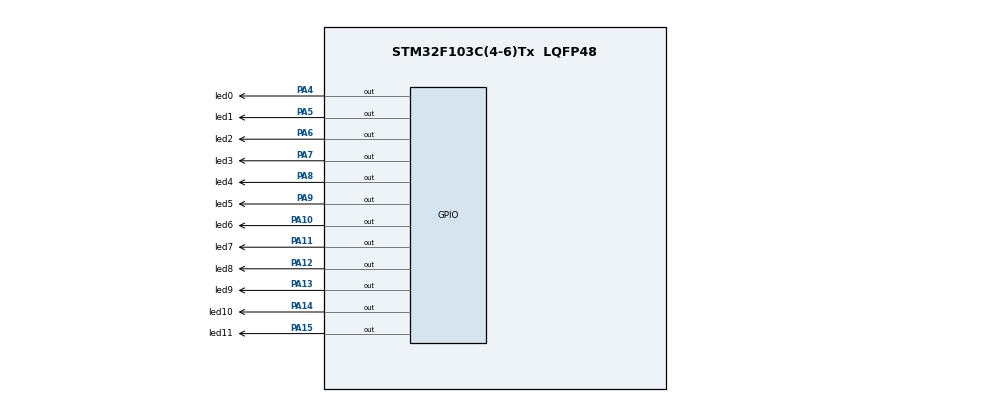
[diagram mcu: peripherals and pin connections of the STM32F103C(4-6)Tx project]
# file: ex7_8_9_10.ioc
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Mcu.Family=STM32F1
Mcu.Name=STM32F103C(4-6)Tx
Mcu.Package=LQFP48
NVIC.PriorityGroup=NVIC_PRIORITYGROUP_4
PA10.GPIO_Label=led6
PA10.Signal=GPIO_Output
PA11.GPIO_Label=led7
PA11.Signal=GPIO_Output
PA12.GPIO_Label=led8
PA12.Signal=GPIO_Output
PA13.GPIO_Label=led9
PA13.Signal=GPIO_Output
PA14.GPIO_Label=led10
PA14.Signal=GPIO_Output
PA15.GPIO_Label=led11
PA15.Signal=GPIO_Output
PA4.GPIO_Label=led0
PA4.Signal=GPIO_Output
PA5.GPIO_Label=led1
PA5.Signal=GPIO_Output
PA6.GPIO_Label=led2
PA6.Signal=GPIO_Output
PA7.GPIO_Label=led3
PA7.Signal=GPIO_Output
PA8.GPIO_Label=led4
PA8.Signal=GPIO_Output
PA9.GPIO_Label=led5
PA9.Signal=GPIO_Output
ProjectManager.HeapSize=0x200
ProjectManager.StackSize=0x400
ProjectManager.TargetToolchain=STM32CubeIDE
RCC.APB1Freq_Value=8000000
RCC.APB2Freq_Value=8000000
VP_SYS_VS_ND.Mode=No_Debug
board=custom

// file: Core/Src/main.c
/* USER CODE BEGIN Header */
/**
  ******************************************************************************
  * @file           : main.c
  * @brief          : Main program body
  ******************************************************************************
  * @attention
  *
  * <h2><center>&copy; Copyright (c) 2022 STMicroelectronics.
  * All rights reserved.</center></h2>
  *
  * This software component is licensed by ST under BSD 3-Clause license,
  * the "License"; You may not use this file except in compliance with the
  * License. You may obtain a copy of the License at:
  *                        opensource.org/licenses/BSD-3-Clause
  *
  ******************************************************************************
  */
/* USER CODE END Header */
#include "main.h"

void SystemClock_Config(void);
static void MX_GPIO_Init(void);

/* USER CODE BEGIN 0 */
void clearAllClock();
void setNumberOnClock(int num);
void clearNumberOnClock(int num);

void clearAllClock()
{
	HAL_GPIO_WritePin(GPIOA, led0_Pin, GPIO_PIN_RESET);
	HAL_GPIO_WritePin(GPIOA, led1_Pin, GPIO_PIN_RESET);
	HAL_GPIO_WritePin(GPIOA, led2_Pin, GPIO_PIN_RESET);
	HAL_GPIO_WritePin(GPIOA, led3_Pin, GPIO_PIN_RESET);
	HAL_GPIO_WritePin(GPIOA, led4_Pin, GPIO_PIN_RESET);
	HAL_GPIO_WritePin(GPIOA, led5_Pin, GPIO_PIN_RESET);
	HAL_GPIO_WritePin(GPIOA, led6_Pin, GPIO_PIN_RESET);
	HAL_GPIO_WritePin(GPIOA, led7_Pin, GPIO_PIN_RESET);
	HAL_GPIO_WritePin(GPIOA, led8_Pin, GPIO_PIN_RESET);
	HAL_GPIO_WritePin(GPIOA, led9_Pin, GPIO_PIN_RESET);
	HAL_GPIO_WritePin(GPIOA, led10_Pin, GPIO_PIN_RESET);
	HAL_GPIO_WritePin(GPIOA, led11_Pin, GPIO_PIN_RESET);
}

void setNumberOnClock(int num)
{
	if(num == 0) HAL_GPIO_WritePin(led0_GPIO_Port, led0_Pin, GPIO_PIN_SET);
	if(num == 1) HAL_GPIO_WritePin(led1_GPIO_Port, led1_Pin, GPIO_PIN_SET);
	if(num == 2) HAL_GPIO_WritePin(led2_GPIO_Port, led2_Pin, GPIO_PIN_SET);
	if(num == 3) HAL_GPIO_WritePin(led3_GPIO_Port, led3_Pin, GPIO_PIN_SET);
	if(num == 4) HAL_GPIO_WritePin(led4_GPIO_Port, led4_Pin, GPIO_PIN_SET);
	if(num == 5) HAL_GPIO_WritePin(led5_GPIO_Port, led5_Pin, GPIO_PIN_SET);
	if(num == 6) HAL_GPIO_WritePin(led6_GPIO_Port, led6_Pin, GPIO_PIN_SET);
	if(num == 7) HAL_GPIO_WritePin(led7_GPIO_Port, led7_Pin, GPIO_PIN_SET);
	if(num == 8) HAL_GPIO_WritePin(led8_GPIO_Port, led8_Pin, GPIO_PIN_SET);
	if(num == 9) HAL_GPIO_WritePin(led9_GPIO_Port, led9_Pin, GPIO_PIN_SET);
	if(num == 10) HAL_GPIO_WritePin(led10_GPIO_Port, led10_Pin, GPIO_PIN_SET);
	if(num == 11) HAL_GPIO_WritePin(led11_GPIO_Port, led11_Pin, GPIO_PIN_SET);
}

void clearNumberOnClock(int num)
{
	if(num == 0) HAL_GPIO_WritePin(led0_GPIO_Port, led0_Pin, GPIO_PIN_RESET);
	if(num == 1) HAL_GPIO_WritePin(led1_GPIO_Port, led1_Pin, GPIO_PIN_RESET);
	if(num == 2) HAL_GPIO_WritePin(led2_GPIO_Port, led2_Pin, GPIO_PIN_RESET);
	if(num == 3) HAL_GPIO_WritePin(led3_GPIO_Port, led3_Pin, GPIO_PIN_RESET);
	if(num == 4) HAL_GPIO_WritePin(led4_GPIO_Port, led4_Pin, GPIO_PIN_RESET);
	if(num == 5) HAL_GPIO_WritePin(led5_GPIO_Port, led5_Pin, GPIO_PIN_RESET);
	if(num == 6) HAL_GPIO_WritePin(led6_GPIO_Port, led6_Pin, GPIO_PIN_RESET);
	if(num == 7) HAL_GPIO_WritePin(led7_GPIO_Port, led7_Pin, GPIO_PIN_RESET);
	if(num == 8) HAL_GPIO_WritePin(led8_GPIO_Port, led8_Pin, GPIO_PIN_RESET);
	if(num == 9) HAL_GPIO_WritePin(led9_GPIO_Port, led9_Pin, GPIO_PIN_RESET);
	if(num == 10) HAL_GPIO_WritePin(led10_GPIO_Port, led10_Pin, GPIO_PIN_RESET);
	if(num == 11) HAL_GPIO_WritePin(led11_GPIO_Port, led11_Pin, GPIO_PIN_RESET);
}
/* USER CODE END 0 */

int main(void)
{

  /* MCU Configuration--------------------------------------------------------*/

  /* Reset of all peripherals, Initializes the Flash interface and the Systick. */
  HAL_Init();

  /* Configure the system clock */
  SystemClock_Config();

  /* Initialize all configured peripherals */
  MX_GPIO_Init();

  /* Infinite loop */
  /* USER CODE BEGIN WHILE */

  // initial hour, minute, second
  int count_second = 0;
  int count_minute = 0;
  int count_hour = 0;

  while (1)
  {
    /* USER CODE END WHILE */

    /* USER CODE BEGIN 3 */

	  //---------- hien thuc kim giay-----------
	  if(count_second == 60)// kim giay chay du 5 vong
	  {
		  // kiem tra dieu kien kim gio, phut, giay trung nhau
		  if((count_second/5 - 1) != (count_minute/5) && (count_second/5 - 1) != count_hour)
		  {
			  //xoa kim giay, tao hieu ung chuyen dong
			  clearNumberOnClock(count_second/5 - 1);
		  }
		  count_minute ++;// cap nhat minute
		  count_second = 0;// reset second ve 0
	  }

	  // kiem tra dieu kien kim gio, phut, giay trung nhau
	  if((count_second/5 - 1) != (count_minute/5) && (count_second/5 - 1) != count_hour)
	  {
		  clearNumberOnClock(count_second/5 - 1);
	  }
	  // hien thi kim giay
	  setNumberOnClock(count_second/5);
	  count_second ++;

	  //--------- hien thuc kim phut----------
	  if(count_minute == 60)//kim phut chay du 1 vong
	  {
		  // kiem tra dieu kien kim gio, phut, giay trung nhau
		  if((count_minute/5 -1) != (count_second/5) && (count_minute/5 -1) != count_hour)
		  {
			  //xoa kim phut, tao hieu ung chuyen dong
			  clearNumberOnClock(count_minute/5 -1);
		  }
		  count_hour ++;// cap nhat kim gio
		  count_minute = 0;// reset kim phut ve 0
	  }

	  // kiem tra dieu kien kim gio, phut, giay trung nhau
	  if((count_minute/5 -1) != (count_second/5) && (count_minute/5 -1) != count_hour)
	  {
		  //xoa kim phut, tao hieu ung chuyen dong
		  clearNumberOnClock(count_minute/5 -1);
	  }
	  // hien thi kim phut
	  setNumberOnClock(count_minute/5);

	  // ------------hien thuc kim gio------------
	  if(count_hour == 12)// kim gio quay duoc 1 vong
	  {
		  // kiem tra dieu kien kim gio, phut, giay trung nhau
		  if((count_hour -1) != (count_minute/5) && (count_hour -1) != (count_second/5))
		  {
			  //xoa kim gio, tao hieu ung chuyen dong
			  clearNumberOnClock(count_hour -1);
		  }
		  count_hour = 0;// reset kim phut ve 0
	  }
	  // kiem tra dieu kien kim gio, phut, giay trung nhau
	  if((count_hour -1) != (count_minute/5) && (count_hour -1) != (count_second/5))
	  {
		  //xoa kim gio, tao hieu ung chuyen dong
		  clearNumberOnClock(count_hour -1);
	  }
	  // hien thi kim gio
	  setNumberOnClock(count_hour);

	  HAL_Delay(50);
  }
  /* USER CODE END 3 */
}

void SystemClock_Config(void)
{
  RCC_OscInitTypeDef RCC_OscInitStruct = {0};
  RCC_ClkInitTypeDef RCC_ClkInitStruct = {0};

  /** Initializes the RCC Oscillators according to the specified parameters
  * in the RCC_OscInitTypeDef structure.
  */
  RCC_OscInitStruct.OscillatorType = RCC_OSCILLATORTYPE_HSI;
  RCC_OscInitStruct.HSIState = RCC_HSI_ON;
  RCC_OscInitStruct.HSICalibrationValue = RCC_HSICALIBRATION_DEFAULT;
  RCC_OscInitStruct.PLL.PLLState = RCC_PLL_NONE;
  if (HAL_RCC_OscConfig(&RCC_OscInitStruct) != HAL_OK)
  {
    Error_Handler();
  }
  /** Initializes the CPU, AHB and APB buses clocks
  */
  RCC_ClkInitStruct.ClockType = RCC_CLOCKTYPE_HCLK|RCC_CLOCKTYPE_SYSCLK
                              |RCC_CLOCKTYPE_PCLK1|RCC_CLOCKTYPE_PCLK2;
  RCC_ClkInitStruct.SYSCLKSource = RCC_SYSCLKSOURCE_HSI;
  RCC_ClkInitStruct.AHBCLKDivider = RCC_SYSCLK_DIV1;
  RCC_ClkInitStruct.APB1CLKDivider = RCC_HCLK_DIV1;
  RCC_ClkInitStruct.APB2CLKDivider = RCC_HCLK_DIV1;

  if (HAL_RCC_ClockConfig(&RCC_ClkInitStruct, FLASH_LATENCY_0) != HAL_OK)
  {
    Error_Handler();
  }
}

static void MX_GPIO_Init(void)
{
  GPIO_InitTypeDef GPIO_InitStruct = {0};

  /* GPIO Ports Clock Enable */
  __HAL_RCC_GPIOA_CLK_ENABLE();

  /*Configure GPIO pin Output Level */
  HAL_GPIO_WritePin(GPIOA, led0_Pin|led1_Pin|led2_Pin|led3_Pin
                          |led4_Pin|led5_Pin|led6_Pin|led7_Pin
                          |led8_Pin|led9_Pin|led10_Pin|led11_Pin, GPIO_PIN_RESET);

  /*Configure GPIO pins : led0_Pin led1_Pin led2_Pin led3_Pin
                           led4_Pin led5_Pin led6_Pin led7_Pin
                           led8_Pin led9_Pin led10_Pin led11_Pin */
  GPIO_InitStruct.Pin = led0_Pin|led1_Pin|led2_Pin|led3_Pin
                          |led4_Pin|led5_Pin|led6_Pin|led7_Pin
                          |led8_Pin|led9_Pin|led10_Pin|led11_Pin;
  GPIO_InitStruct.Mode = GPIO_MODE_OUTPUT_PP;
  GPIO_InitStruct.Pull = GPIO_NOPULL;
  GPIO_InitStruct.Speed = GPIO_SPEED_FREQ_LOW;
  HAL_GPIO_Init(GPIOA, &GPIO_InitStruct);

}

void Error_Handler(void)
{
  __disable_irq();
  while (1)
  {
  }
}

/************************ (C) COPYRIGHT STMicroelectronics *****END OF FILE****/
